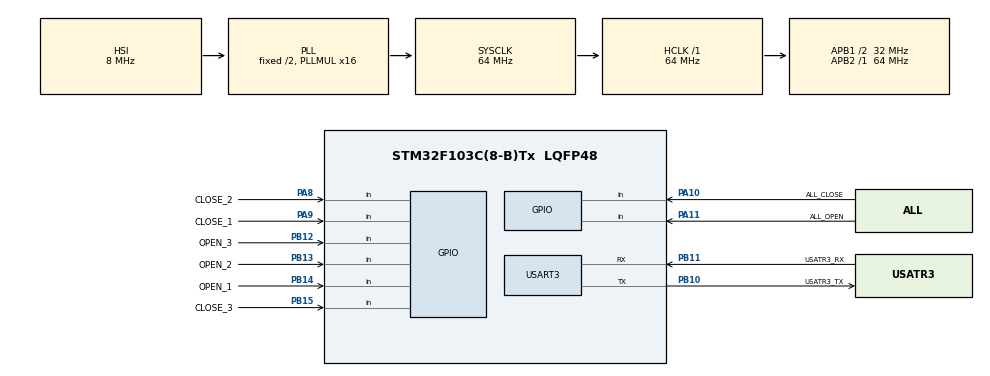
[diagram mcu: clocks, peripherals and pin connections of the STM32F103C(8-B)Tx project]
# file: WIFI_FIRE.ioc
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Mcu.Family=STM32F1
Mcu.Name=STM32F103C(8-B)Tx
Mcu.Package=LQFP48
NVIC.PriorityGroup=NVIC_PRIORITYGROUP_2
NVIC.USART3_IRQn=true\:2\:2\:true\:false\:true\:true
PA10.GPIO_Label=ALL_CLOSE
PA10.GPIO_PuPd=GPIO_PULLDOWN
PA10.Signal=GPIO_Input
PA11.GPIO_Label=ALL_OPEN
PA11.GPIO_PuPd=GPIO_PULLDOWN
PA11.Signal=GPIO_Input
PA13.Mode=Serial_Wire
PA13.Signal=SYS_JTMS-SWDIO
PA14.Mode=Serial_Wire
PA14.Signal=SYS_JTCK-SWCLK
PA8.GPIO_Label=CLOSE_2
PA8.GPIO_PuPd=GPIO_PULLDOWN
PA8.Signal=GPIO_Input
PA9.GPIO_Label=CLOSE_1
PA9.GPIO_PuPd=GPIO_PULLDOWN
PA9.Signal=GPIO_Input
PB10.GPIO_Label=USATR3_TX
PB10.Mode=Asynchronous
PB10.Signal=USART3_TX
PB11.GPIO_Label=USATR3_RX
PB11.Mode=Asynchronous
PB11.Signal=USART3_RX
PB12.GPIO_Label=OPEN_3
PB12.GPIO_PuPd=GPIO_PULLDOWN
PB12.Signal=GPIO_Input
PB13.GPIO_Label=OPEN_2
PB13.GPIO_PuPd=GPIO_PULLDOWN
PB13.Signal=GPIO_Input
PB14.GPIO_Label=OPEN_1
PB14.GPIO_PuPd=GPIO_PULLDOWN
PB14.Signal=GPIO_Input
PB15.GPIO_Label=CLOSE_3
PB15.GPIO_PuPd=GPIO_PULLDOWN
PB15.Signal=GPIO_Input
ProjectManager.HeapSize=0x200
ProjectManager.StackSize=0x400
ProjectManager.TargetToolchain=MDK-ARM V5
RCC.AHBFreq_Value=64000000
RCC.APB1CLKDivider=RCC_HCLK_DIV2
RCC.APB1Freq_Value=32000000
RCC.APB1TimFreq_Value=64000000
RCC.APB2Freq_Value=64000000
RCC.APB2TimFreq_Value=64000000
RCC.HCLKFreq_Value=64000000
RCC.PLLMUL=RCC_PLL_MUL16
RCC.SYSCLKFreq_VALUE=64000000
RCC.SYSCLKSource=RCC_SYSCLKSOURCE_PLLCLK
RCC.USBFreq_Value=64000000
USART3.VirtualMode=VM_ASYNC
board=WIFI_FIRE

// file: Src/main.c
/**
  ******************************************************************************
  * File Name          : main.c
  * Description        : Main program body
  ******************************************************************************
  ** This notice applies to any and all portions of this file
  * that are not between comment pairs USER CODE BEGIN and
  * USER CODE END. Other portions of this file, whether
  * inserted by the user or by software development tools
  * are owned by their respective copyright owners.
  *
  * COPYRIGHT(c) 2019 STMicroelectronics
  *
  * Redistribution and use in source and binary forms, with or without modification,
  * are permitted provided that the following conditions are met:
  *   1. Redistributions of source code must retain the above copyright notice,
  *      this list of conditions and the following disclaimer.
  *   2. Redistributions in binary form must reproduce the above copyright notice,
  *      this list of conditions and the following disclaimer in the documentation
  *      and/or other materials provided with the distribution.
  *   3. Neither the name of STMicroelectronics nor the names of its contributors
  *      may be used to endorse or promote products derived from this software
  *      without specific prior written permission.
  *
  * THIS SOFTWARE IS PROVIDED BY THE COPYRIGHT HOLDERS AND CONTRIBUTORS "AS IS"
  * AND ANY EXPRESS OR IMPLIED WARRANTIES, INCLUDING, BUT NOT LIMITED TO, THE
  * IMPLIED WARRANTIES OF MERCHANTABILITY AND FITNESS FOR A PARTICULAR PURPOSE ARE
  * DISCLAIMED. IN NO EVENT SHALL THE COPYRIGHT HOLDER OR CONTRIBUTORS BE LIABLE
  * FOR ANY DIRECT, INDIRECT, INCIDENTAL, SPECIAL, EXEMPLARY, OR CONSEQUENTIAL
  * DAMAGES (INCLUDING, BUT NOT LIMITED TO, PROCUREMENT OF SUBSTITUTE GOODS OR
  * SERVICES; LOSS OF USE, DATA, OR PROFITS; OR BUSINESS INTERRUPTION) HOWEVER
  * CAUSED AND ON ANY THEORY OF LIABILITY, WHETHER IN CONTRACT, STRICT LIABILITY,
  * OR TORT (INCLUDING NEGLIGENCE OR OTHERWISE) ARISING IN ANY WAY OUT OF THE USE
  * OF THIS SOFTWARE, EVEN IF ADVISED OF THE POSSIBILITY OF SUCH DAMAGE.
  *
  ******************************************************************************
  */

#include "main.h"
#include "stm32f1xx_hal.h"
#include "usart.h"
#include "gpio.h"

/* USER CODE BEGIN Includes */
#include "config.h"
#include "key.h"
/* USER CODE END Includes */

/* USER CODE BEGIN PV */
/* Private variables ---------------------------------------------------------*/

/* USER CODE END PV */

void SystemClock_Config(void);

/* USER CODE BEGIN PFP */
/* Private function prototypes -----------------------------------------------*/

/* USER CODE END PFP */

int main(void)
{

  /* USER CODE BEGIN 1 */
  u8 key_sta1=0;
  u8 key_sta2=0;
  u8 key_old_sta=0;
  u8 old_flg=0;
  u8 Count=0;
  u8 Send_Date1=0;        //当前发送数据
  u8 Send_Date2=0;
  u8 Send_flag=0;
  u8 key_state=0;
  /* USER CODE END 1 */

  /* MCU Configuration----------------------------------------------------------*/

  /* Reset of all peripherals, Initializes the Flash interface and the Systick. */
  HAL_Init();

  /* Configure the system clock */
  SystemClock_Config();

  /* Initialize all configured peripherals */
  MX_GPIO_Init();
  MX_USART3_UART_Init();

  /* USER CODE BEGIN 2 */
  HAL_Delay(3000);
//  HAL_Delay(3000);
  printf("AT+CIPSTART=\"UDP\",\"255.255.255.255\",1000,5000,0\r\n");
  HAL_Delay(1500);
  printf("AT+CIPMODE=1\r\n");
  HAL_Delay(500);
  printf("AT+CIPSEND\r\n");
  HAL_Delay(500);

//  printf("Init ok\r\n");
//  HAL_UART_Receive_IT(&huart3, (u8 *)aRxBuffer, RXBUFFERSIZE);//该函数会开启接收中断：标志位UART_IT_RXNE，并且设置接收缓冲以及接收缓冲接收最大数据�
  /* USER CODE END 2 */

  /* Infinite loop */
  while (1)
  {

  /* USER CODE BEGIN 3 */

	  if(USART_RX_STA&0x8000)
	  {
//		  printf("recive data\r\n");
		  USART_RX_STA=0;
		  if(USART_RX_BUF[0] == 'O' && USART_RX_BUF[1] == 'K')
			  ;
//		  HAL_UART_Receive_IT(&huart3, (u8 *)aRxBuffer, RXBUFFERSIZE);
	  }
	  key_sta1=KEY_Scan_GroupOne(1);     //支持连续按键
	  key_sta2=KEY_Scan_GroupTwo(0);     //不支持连续按键
//	  if(key_sta == key_old_sta )
//	  {
//		  old_flg=1;
//	  }
////      else if(key_sta != key_old_sta || key_sta == NONE_PRES)
//	  else if(key_sta != key_old_sta)
//	  {
//		  old_flg=0;
//	  }

	  switch(key_sta1)
	  {
		  case NONE_PRES:
			  Send_Date1 = NONE_STATE;
		      break;
		  case KEY0_PRES:
		  case KEY1_PRES:
		  case KEY2_PRES:
		  case KEY3_PRES:
//			  key_old_sta = key_sta1;
//			  printf("0X%x\r\n",key_sta);		//带松手检测，发送实时状态
		      Send_Date1 = key_sta1;
		      break;
	      default:
			  Send_Date1 = NONE_STATE;
              break;
	  }
	  switch(key_sta2)
	  {
		  case NONE_PRES:
			  if(Send_flag)
			  {
				  Send_flag  = 0;
				  Send_Date2 = NONE_STATE;
			  }
			  break;
		  case KEY4_PRES:
		  case KEY5_PRES:
		  case KEY6_PRES:
		  case KEY7_PRES:
//		      if(!old_flg && key_old_sta != KEY1_PRES &&
//				             key_old_sta != KEY3_PRES &&
//			                 key_old_sta != KEY5_PRES &&
//			                 key_old_sta != KEY7_PRES   )
//			  {
////				  printf("0X%x\r\n",key_sta); //如果键值改变则发送
//				  Send_Date = key_sta;
//			  }
//			  else if(old_flg)
//			  {
////				  printf("0X%x\r\n",NONE_STATE);
//				  Send_Date = NONE_STATE;
//			  }
//			  key_old_sta = key_sta;
		      Send_Date2 = key_sta2;
			  break;

		  default:
//			  printf("0X%x\r\n",NONE_STATE);
			  Send_Date2 = NONE_STATE;
		      break;

	  }

	  HAL_Delay(10);
	  Count++;
	  if(Count>10)
	  {
		  Count=0;
		  Send_flag=1;
		  printf("0X%x%x\r\n",Send_Date1,Send_Date2);
	  }
//	  if(key_sta)
//	  {
//		  printf("0X%d\r\n",key_sta);
////		  HAL_UART_Receive_IT(&huart3, (u8 *)aRxBuffer, RXBUFFERSIZE);
//	  }

  }
  /* USER CODE END 3 */

}

/** System Clock Configuration
*/
void SystemClock_Config(void)
{

  RCC_OscInitTypeDef RCC_OscInitStruct;
  RCC_ClkInitTypeDef RCC_ClkInitStruct;

    /**Initializes the CPU, AHB and APB busses clocks
    */
  RCC_OscInitStruct.OscillatorType = RCC_OSCILLATORTYPE_HSI;
  RCC_OscInitStruct.HSIState = RCC_HSI_ON;
  RCC_OscInitStruct.HSICalibrationValue = 16;
  RCC_OscInitStruct.PLL.PLLState = RCC_PLL_ON;
  RCC_OscInitStruct.PLL.PLLSource = RCC_PLLSOURCE_HSI_DIV2;
  RCC_OscInitStruct.PLL.PLLMUL = RCC_PLL_MUL16;
  if (HAL_RCC_OscConfig(&RCC_OscInitStruct) != HAL_OK)
  {
    _Error_Handler(__FILE__, __LINE__);
  }

    /**Initializes the CPU, AHB and APB busses clocks
    */
  RCC_ClkInitStruct.ClockType = RCC_CLOCKTYPE_HCLK|RCC_CLOCKTYPE_SYSCLK
                              |RCC_CLOCKTYPE_PCLK1|RCC_CLOCKTYPE_PCLK2;
  RCC_ClkInitStruct.SYSCLKSource = RCC_SYSCLKSOURCE_PLLCLK;
  RCC_ClkInitStruct.AHBCLKDivider = RCC_SYSCLK_DIV1;
  RCC_ClkInitStruct.APB1CLKDivider = RCC_HCLK_DIV2;
  RCC_ClkInitStruct.APB2CLKDivider = RCC_HCLK_DIV1;

  if (HAL_RCC_ClockConfig(&RCC_ClkInitStruct, FLASH_LATENCY_2) != HAL_OK)
  {
    _Error_Handler(__FILE__, __LINE__);
  }

    /**Configure the Systick interrupt time
    */
  HAL_SYSTICK_Config(HAL_RCC_GetHCLKFreq()/1000);

    /**Configure the Systick
    */
  HAL_SYSTICK_CLKSourceConfig(SYSTICK_CLKSOURCE_HCLK);

  /* SysTick_IRQn interrupt configuration */
  HAL_NVIC_SetPriority(SysTick_IRQn, 0, 0);
}

void _Error_Handler(char * file, int line)
{
  while(1)
  {
  }
}

/************************ (C) COPYRIGHT STMicroelectronics *****END OF FILE****/
